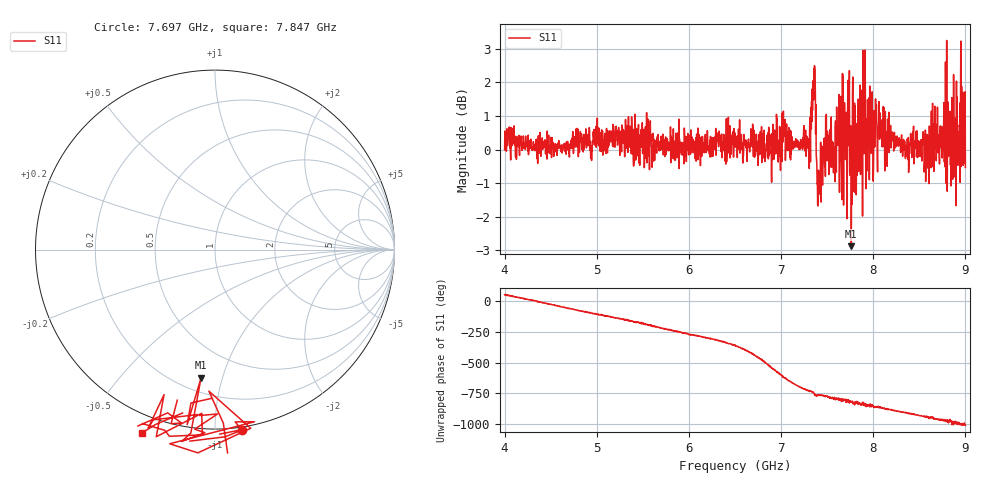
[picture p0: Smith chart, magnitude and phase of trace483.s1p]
! Created with skrf 1.8.0 (http://scikit-rf.org).
# Hz S RI R 50.0
!freq ReS11 ImS11
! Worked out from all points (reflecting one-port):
!   1601 points, 4 GHz to 9 GHz, reference 50 ohm
!   lowest |S11| = -2.9 dB at 7.762 GHz (marker M1), VSWR 6.10, Z = 14.5 - j42.7 ohm
!   phase of S11 starts at 50 deg and turns -1058 deg over the sweep
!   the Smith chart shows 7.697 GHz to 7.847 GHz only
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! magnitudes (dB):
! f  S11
! 4 GHz  0.0
! 4.625 GHz  -0.1
! 5.25 GHz  -0.2
! 5.875 GHz  0.0
! 6.5 GHz  0.5
! 6.984 GHz  0.7
! 7.038 GHz  0.5
! 7.125 GHz  0.1
! 7.294 GHz  0.0
! 7.347 GHz  1.7
! 7.362 GHz  2.5
! 7.409 GHz  -1.1
! 7.481 GHz  -0.8
! 7.575 GHz  0.1
! 7.688 GHz  1.4
! 7.75 GHz  0.1
! 7.762 GHz  -2.9
! 7.891 GHz  0.1
! 7.981 GHz  -0.1
! 8.05 GHz  0.7
! 8.375 GHz  0.0
! 8.581 GHz  -0.6
! 8.656 GHz  0.8
! 8.766 GHz  1.4
! 8.809 GHz  0.9
! 8.875 GHz  0.2
! 8.959 GHz  1.9
! 9 GHz  -0.5
